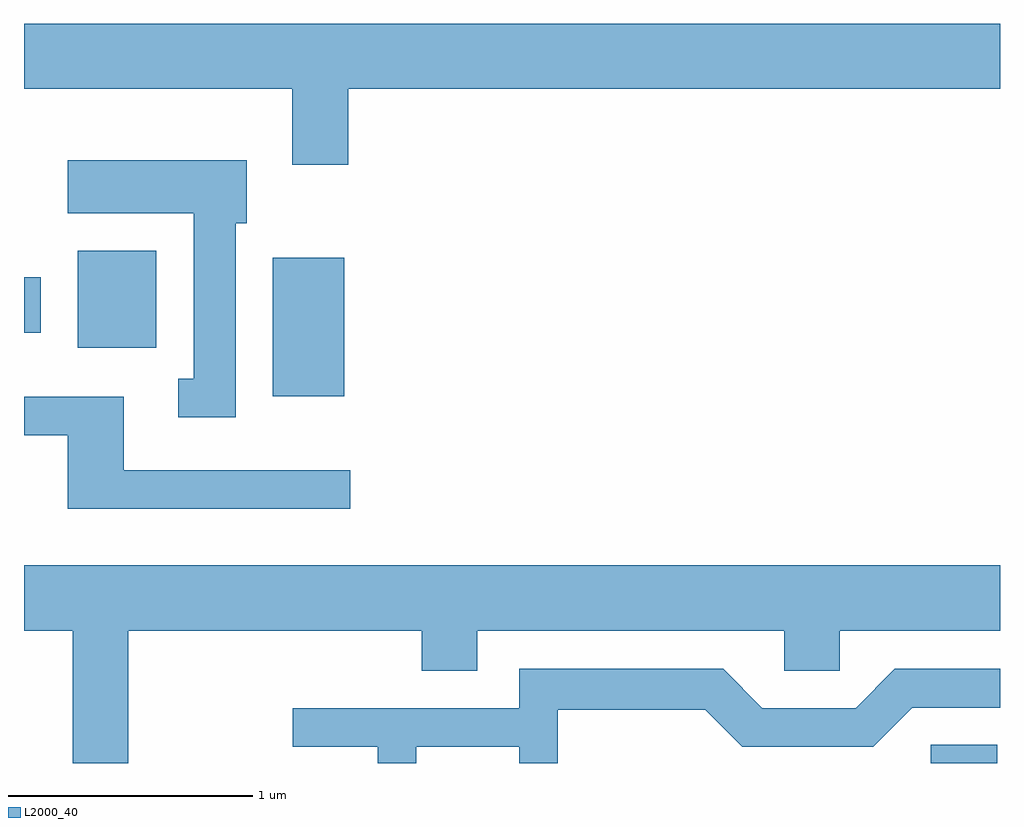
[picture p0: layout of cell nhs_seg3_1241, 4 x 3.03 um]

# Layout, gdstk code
import gdstk
lib = gdstk.Library(unit=1e-6, precision=1e-09)
def R(c, l, rs):  # rectangles x0, y0, x1, y1
    for r in rs: c.add(gdstk.rectangle(r[:2], r[2:], *l))
def P(c, l, *ps):  # polygons
    for p in ps: c.add(gdstk.Polygon(p, *l))
L2000_40 = (2000, 40)

nhs_seg3_1241 = lib.new_cell('nhs_seg3_1241')
R(nhs_seg3_1241, L2000_40, [(225.328,1149.892,225.599,1149.969), (222.631,1151.396,222.924,1151.964), (221.831,1151.596,222.154,1151.994), (221.611,1151.656,221.679,1151.884)])
P(nhs_seg3_1241, L2000_40, [(222.939,1152.656),(225.611,1152.656),(225.611,1152.924),(221.611,1152.924),(221.611,1152.656),(222.711,1152.656),(222.711,1152.346),(222.939,1152.346)],
  [(222.479,1152.106),(222.524,1152.106),(222.524,1152.364),(221.791,1152.364),(221.791,1152.146),(222.306,1152.146),(222.306,1151.469),(222.243,1151.469),(222.243,1151.311),(222.479,1151.311)],
  [(222.948,1151.094),(222.019,1151.094),(222.019,1151.394),(221.611,1151.394),(221.611,1151.236),(221.791,1151.236),(221.791,1150.936),(222.948,1150.936)],
  [(222.039,1150.436),(223.241,1150.436),(223.241,1150.271),(223.469,1150.271),(223.469,1150.436),(224.726,1150.436),(224.726,1150.271),(224.954,1150.271),(224.954,1150.436),(225.611,1150.436),(225.611,1150.704),(221.611,1150.704),(221.611,1150.436),(221.811,1150.436),(221.811,1149.892),(222.039,1149.892)],
  [(223.219,1149.961),(223.641,1149.961),(223.641,1149.892),(223.799,1149.892),(223.799,1150.111),(224.404,1150.111),(224.554,1149.961),(225.092,1149.961),(225.252,1150.121),(225.611,1150.121),(225.611,1150.279),(225.179,1150.279),(225.019,1150.119),(224.637,1150.119),(224.477,1150.279),(223.641,1150.279),(223.641,1150.119),(222.713,1150.119),(222.713,1149.961),(223.061,1149.961),(223.061,1149.892),(223.219,1149.892)])

lib.write_gds('nhs_seg3_1241.gds')
